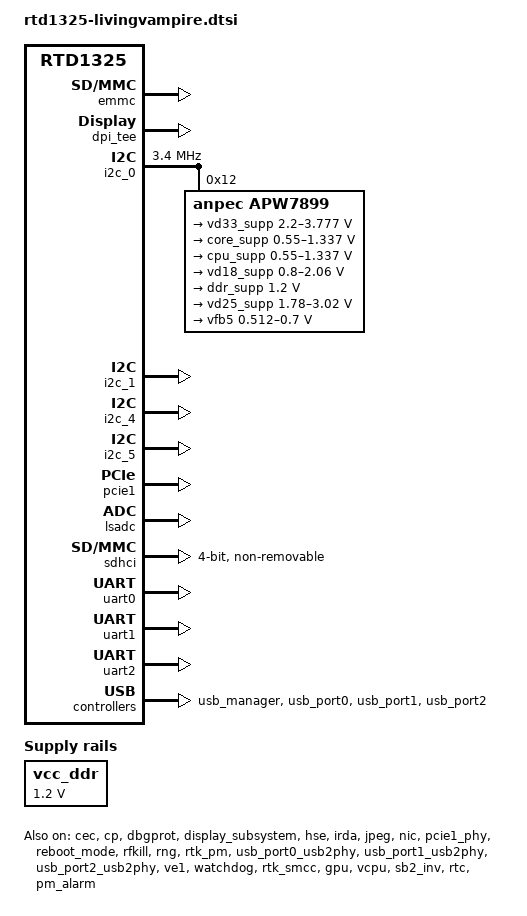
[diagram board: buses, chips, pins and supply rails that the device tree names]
// SPDX-License-Identifier: (GPL-2.0-or-later OR BSD-2-Clause)
/*
 * Copyright (c) 2023 Realtek Semiconductor Corp.
 */

/dts-v1/;

#include <dt-bindings/soc/realtek,pm.h>
#include <dt-bindings/thermal/thermal.h>
#include <dt-bindings/regulator/anpec,apw888x.h>
#include "rtd1325.dtsi"

/ {
	chosen {
		stdout-path = "serial0:460800n8";
		bootargs = "earlycon=uart8250,mmio32,0x98007800 console=ttyS0,460800 8250.nr_uarts=3 init=/init loglevel=4 max_loop=64 loop.max_part=7";
	};

	aliases {
	};

	vcc_ddr: vcc1v2-ddr {
		compatible = "regulator-fixed";
		regulator-name = "vcc1v2-ddr";
		regulator-min-microvolt = <1200000>;
		regulator-max-microvolt = <1200000>;
	};
};

&audio_in_i2s {
	pinctrl-names = "default";
	pinctrl-0 = <&ai_loc0_6pins>;
	status = "disabled";
};

&audio_out {
	pinctrl-names = "default";
	pinctrl-0 = <&spdif_pins>;
	status = "okay";
};

&audio_spdif_in {
	pinctrl-names = "default";
	pinctrl-0 = <&spdif_optical_loc1_pin>;
	status = "okay";
};

&cec {
	status = "okay";
};

&cp {
	status = "okay";
};

&cpu_tm {
	status = "okay";
};

&dbgprot {
	status = "okay";
};

&emmc {
	status = "okay";
};

&gpio {
	status = "okay";
};

&display_subsystem {
	status = "okay";
};

&hdmi {
	hdmi5v-gpios = <&gpio 47 GPIO_ACTIVE_HIGH>;
};

&hse {
	status = "okay";
};

&dpi_tee {
	temp-delta = <5000>;
	status = "okay";

	ddr4 {
		zq-cal {
			zq-vref = <0x000047d4 0x0000cd50 0x0000c730>;
			zprog-values = <0x00300118 0x00090118 0x00260118 0x01180124 0x00180530>;
			zq-ena-nocd2 = <0x0 0x0 0x0 0x0 0x1>;
			zprog-nocd2 = <0x0 0x0 0x0 0x0 0x118>;
		};

		rx-dq-cal {
			delta-width = <4>;
			cal-time = <1000>;
		};
	};

	lpddr4 {
		zq-cal {
			zq-vref = <0x0000c670 0x0000cd50 0x0000cc40>;
			zprog-values = <0x00300030 0x00090030 0x00260018 0x000c0124>;
			zq-ena-nocd2 = <0x1 0x1 0x1 0x1>;
			zprog-nocd2 = <0x0000011d 0x0000011d 0x00000030 0x00000318>;
		};

		rx-dq-cal {
			delta-width = <4>;
			cal-time = <1000>;
		};
	};

	ddr3 {
		zq-cal {
			zq-vref = <0x0000cd50 0x0000cd50 0x0000cd50>;
			zprog-values = <0x00200118 0x00120118 0x00180118 0x01180124>;
			zq-ena-nocd2 = <0x0 0x0 0x0 0x0>;
			zprog-nocd2 = <0x0 0x0 0x0 0x0>;
		};

		rx-dq-cal {
			delta-width = <4>;
			cal-time = <1000>;
		};
	};
};

&i2c_0 {
	status = "okay";
	clock-frequency = <3400000>;
	pinctrl-0 = <&i2c_pins_0_HS>;
	status = "okay";

	apw7899: apw7899@12 {
		compatible = "anpec,apw7899";
		reg = <0x12>;

		regulators {
			compatible = "anpec,apw8886-regulator";

			vd33_supp: dc1 {
				regulator-name = "vd33";
				regulator-min-microvolt = <2200000>;
				regulator-max-microvolt = <3777500>;

				regulator-boot-on;
				regulator-always-on;
				regulator-initial-mode = <APW888X_DC_MODE_FORCE_PWM>;
				regulator-state-mem {
					regulator-on-in-suspend;
					regulator-suspend-microvolt = <3300000>;
				};
			};

			core_supp: dc2 {
				regulator-name = "core";
				regulator-min-microvolt = <550000>;
				regulator-max-microvolt = <1337500>;

				regulator-boot-on;
				regulator-always-on;
				regulator-initial-mode = <APW888X_DC_MODE_AUTO>;
				regulator-state-mem {
					regulator-on-in-suspend;
					regulator-suspend-microvolt = <800000>;
				};
			};

			cpu_supp: dc3 {
				regulator-name = "cpudvs";
				regulator-min-microvolt = <550000>;
				regulator-max-microvolt = <1337500>;

				regulator-boot-on;
				regulator-always-on;
				regulator-initial-mode = <APW888X_DC_MODE_AUTO>;
				regulator-ramp-delay = <625>;
				apw888x-disabled-in-shutdown;

				regulator-state-mem {
					regulator-off-in-suspend;
					regulator-changeable-in-suspend;
				};
			};

			vd18_supp: dc4 {
				regulator-name = "vd18";
				regulator-min-microvolt = <800000>;
				regulator-max-microvolt = <2060000>;

				regulator-boot-on;
				regulator-always-on;
				regulator-initial-mode = <APW888X_DC_MODE_AUTO>;
				regulator-state-mem {
					regulator-on-in-suspend;
				};
			};

			ddr_supp: dc5 {
				regulator-name = "ddr";
				regulator-min-microvolt = <1200000>;
				regulator-max-microvolt = <1200000>;
				regulator-boot-on;
				regulator-always-on;
				regulator-initial-mode = <APW888X_DC_MODE_AUTO>;
				vin-supply = <&vcc_ddr>;
				apw888x-disabled-in-shutdown;

				regulator-state-mem {
					regulator-on-in-suspend;
				};
			};

			vd25_supp: ldo1 {
				regulator-name = "vd25";
				regulator-min-microvolt = <1780000>;
				regulator-max-microvolt = <3020000>;

				regulator-boot-on;
				regulator-always-on;
				regulator-initial-mode = <APW888X_LDO_MODE_NORMAL>;
				regulator-state-mem {
					regulator-on-in-suspend;
				};
			};

			vfb5 {
				regulator-name = "vfb5";
				regulator-min-microvolt = <512500>;
				regulator-max-microvolt = <700000>;

				regulator-boot-on;
				regulator-always-on;
				regulator-state-mem {
					regulator-on-in-suspend;
				};
			};
		};
	};
};

&i2c_1 {
	status = "okay";
};

&i2c_4 {
	status = "okay";
};

&i2c_5 {
	status = "okay";
};

&irda {
	wakeup-key = <116>,<148>;
	status = "okay";
};

&jpeg {
	status = "okay";
};

&nic {
	status = "okay";
};

&pcie1 {
	perst-gpios = <&gpio 80 GPIO_ACTIVE_HIGH>;
	status = "okay";
};

&pcie1_phy {
	compatible = "realtek,rtd13xxe-pcie-slot1-phy";
	status = "okay";
};

&pwm {
	status = "disabled";
};

&reboot_mode {
	status = "okay";
};

&rfkill {
	status = "okay";
};

&lsadc {
	status = "okay";
};

&rng {
	status = "okay";
};

&rtk_pm {
	wakeup-flags = <NORMAL_MODE>;
	wakeup-gpio-list = <18 GPIO_WAKEUP_ENABLE GPIO_WAKEUP_ACTIVE_LOW>,
			   <31 GPIO_WAKEUP_ENABLE GPIO_WAKEUP_ACTIVE_LOW>;
	wakeup-timer = <0>;
	dco = <DCO_DISABLE>;
	rtk-bt = <31>; /* for Realtek bluetooth only */
	status = "okay";
};

&sdhci {
	bus-width = <4>;
	cap-sd-highspeed;
	cap-mmc-highspeed;
	sd-uhs-sdr12;
	sd-uhs-sdr25;
	sd-uhs-sdr50;
	sd-uhs-sdr104;
	keep-power-in-suspend;
	non-removable;
	status = "okay";
};

&sound {
	status = "okay";
};

&uart0 {
	status = "okay";
};

&uart1 {
	status = "okay";
};

&uart2 {
	status = "okay";
};

&usb_manager {
	status = "okay";
};

&usb_port0_usb2phy {
	status = "okay";
};

&usb_port0 {
	realtek,power-gpio = <&gpio 48 GPIO_ACTIVE_LOW>;
	status = "okay";
};

&usb_port1_usb2phy {
	status = "okay";
};

&usb_port1 {
	realtek,power-gpio = <&gpio 48 GPIO_ACTIVE_LOW>;
	status = "okay";
};

&usb_port2_usb2phy {
	status = "okay";
};

&usb_port2 {
	status = "okay";
};

&type_c {
	realtek,connector-switch-gpio = <&gpio 49 GPIO_ACTIVE_HIGH>;
	status = "disabled";
};

&ve1 {
	status = "okay";
};

&watchdog {
	status = "okay";
};

&rtk_smcc {
	status = "okay";
};

&gpu {
	operating-points-v2 = <&gpu_opps>;
	status = "okay";

	gpu_opps: opp-table-gpu {
		compatible = "operating-points-v2",
			     "operating-points-v2-mali";

		opp-400000000 {
			opp-hz = /bits/ 64 <400000000>;
			opp-hz-real = /bits/ 64 <400000000>;
			opp-microvolt = <800000>;
			opp-suspend;
		};

		opp-500000000 {
			opp-hz = /bits/ 64 <500000000>;
			opp-hz-real = /bits/ 64 <500000000>;
			opp-microvolt = <800000>;
		};

		opp-580500000 {
			opp-hz = /bits/ 64 <580500000>;
			opp-hz-real = /bits/ 64 <580500000>;
			opp-microvolt = <800000>;
		};
	};
};

&cpu0 {
	cpu-supply = <&cpu_supp>;
	operating-points-v2 = <&cpu_opps>;
	#cooling-cells = <2>;
};

&cpu1 {
	cpu-supply = <&cpu_supp>;
	operating-points-v2 = <&cpu_opps>;
	#cooling-cells = <2>;
};

&cpu2 {
	cpu-supply = <&cpu_supp>;
	operating-points-v2 = <&cpu_opps>;
	#cooling-cells = <2>;
};

&cpu3 {
	cpu-supply = <&cpu_supp>;
	operating-points-v2 = <&cpu_opps>;
	#cooling-cells = <2>;
};

&cpu_dvfs {
	fss-opp-updated = <0>;
	fss-volt-correct = <25000>;
	fss-volt-step = <25000>;
	fss-volt-min = <800000>;
	fss-volt-max = <1100000>;

	bsv-opp-updated = <0>;
	bsv-volt-correct = <125000 137500 150000>;
	bsv-volt-step = <25000>;
	bsv-volt-min = <800000>;
	bsv-volt-max = <1087500>;

	cpu_opps: opp-table-cpu {
		compatible = "operating-points-v2";
		opp-shared;
		opp800: opp-800000000 {
			opp-hz = /bits/ 64 <800000000>;
			opp-microvolt = <800000>;
			opp-microvolt-bsv = <0>;
			opp-microvolt-fss = <0>;
			clock-latency-ns = <150000>;
			status = "okay";
		};

		opp900: opp-900000000 {
			opp-hz = /bits/ 64 <900000000>;
			opp-microvolt = <800000>;
			opp-microvolt-bsv = <0>;
			opp-microvolt-fss = <0>;
			clock-latency-ns = <150000>;
			status = "okay";
		};

		opp1000: opp-1000000000 {
			opp-hz = /bits/ 64 <1000000000>;
			opp-microvolt = <800000>;
			opp-microvolt-bsv = <0>;
			opp-microvolt-fss = <0>;
			clock-latency-ns = <150000>;
			status = "okay";
		};

		opp1100: opp-1100000000 {
			opp-hz = /bits/ 64 <1100000000>;
			opp-microvolt = <825000>;
			opp-microvolt-fss = <0>;
			opp-microvolt-bsv = <0>;
			clock-latency-ns = <150000>;
			status = "okay";
		};

		opp1200: opp-1200000000 {
			opp-hz = /bits/ 64 <1200000000>;
			opp-microvolt = <850000>;
			opp-microvolt-fss = <0>;
			opp-microvolt-bsv = <0>;
			clock-latency-ns = <150000>;
			status = "okay";
		};

		opp1300: opp-1300000000 {
			opp-hz = /bits/ 64 <1300000000>;
			opp-microvolt = <875000>;
			opp-microvolt-fss = <0>;
			opp-microvolt-bsv = <0>;
			clock-latency-ns = <150000>;
			status = "okay";
		};

		opp1400: opp-1400000000 {
			opp-hz = /bits/ 64 <1400000000>;
			opp-microvolt = <900000>;
			opp-microvolt-fss = <0>;
			opp-microvolt-bsv = <0>;
			clock-latency-ns = <150000>;
			status = "okay";
		};

		opp1500: opp-1500000000 {
			opp-hz = /bits/ 64 <1500000000>;
			opp-microvolt = <937500>;
			opp-microvolt-fss = <0>;
			opp-microvolt-bsv = <0>;
			clock-latency-ns = <150000>;
			status = "okay";
		};

		opp1600: opp-1600000000 {
			opp-hz = /bits/ 64 <1600000000>;
			opp-microvolt = <987500>;
			opp-microvolt-fss = <0>;
			opp-microvolt-bsv = <0>;
			clock-latency-ns = <150000>;
			status = "okay";
		};

		opp1700: opp-1700000000 {
			opp-hz = /bits/ 64 <1700000000>;
			opp-microvolt = <1037500>;
			opp-microvolt-fss = <0>;
			opp-microvolt-bsv = <0>;
			clock-latency-ns = <150000>;
			opp-suspend;
			status = "okay";
		};
	};
};

&cpu_thermal {
	trips {
		cpu_alert0: cpu-alert0 {
			temperature = <90000>;
			hysteresis = <0>;
			type = "passive";
		};

		cpu_alert1: cpu-alert1 {
			temperature = <105000>;
			hysteresis = <0>;
			type = "passive";
		};
	};

	cooling-maps {
		cpu-map0 {
			trip = <&cpu_alert0>;
			cooling-device = <&cpu0 2 3>;
			contribution = <70>;
		};

		cpu-map1 {
			trip = <&cpu_alert1>;
			cooling-device = <&cpu0 4 THERMAL_NO_LIMIT>;
			contribution = <70>;
		};
	};
};

&vcpu {
	status = "okay";
};

&sb2_inv {
	status = "okay";
};

&rtc {
	status = "okay";
};

&pm_alarm {
	status = "okay";
};
